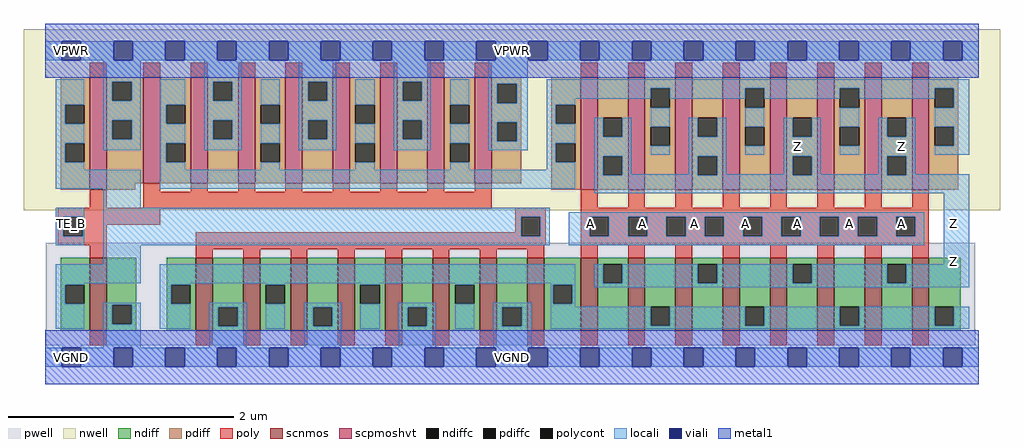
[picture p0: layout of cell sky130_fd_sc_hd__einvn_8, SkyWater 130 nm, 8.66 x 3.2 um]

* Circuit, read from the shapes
.subckt sky130_fd_sc_hd__einvn_8 A TE_B VGND VNB VPB VPWR Z
XM1 VGND TE_B n1 VNB sky130_fd_pr__nfet_01v8 w=0.65 l=0.15
XM2 VGND n1 n2 VNB sky130_fd_pr__nfet_01v8 w=0.65 l=0.15 m=8
XM3 Z A n2 VNB sky130_fd_pr__nfet_01v8 w=0.65 l=0.15 m=8
XM4 VPWR TE_B n1 VPB sky130_fd_pr__pfet_01v8_hvt w=1 l=0.15
XM5 n3 TE_B VPWR VPB sky130_fd_pr__pfet_01v8_hvt w=0.94 l=0.15 m=8
XM6 Z A n3 VPB sky130_fd_pr__pfet_01v8_hvt w=1 l=0.15 m=8
.ends

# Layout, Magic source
magic
tech sky130A
magscale 1 2
<< nwell >>
rect -38 261 1694 582
<< pwell >>
rect 1 21 1650 203
rect 30 -17 64 21
<< scnmos >>
rect 79 47 109 177
rect 267 47 297 177
rect 351 47 381 177
rect 435 47 465 177
rect 519 47 549 177
rect 603 47 633 177
rect 687 47 717 177
rect 771 47 801 177
rect 855 47 885 177
rect 950 47 980 177
rect 1034 47 1064 177
rect 1118 47 1148 177
rect 1202 47 1232 177
rect 1286 47 1316 177
rect 1370 47 1400 177
rect 1454 47 1484 177
rect 1538 47 1568 177
<< scpmoshvt >>
rect 79 297 109 497
rect 174 309 204 497
rect 258 309 288 497
rect 342 309 372 497
rect 426 309 456 497
rect 510 309 540 497
rect 594 309 624 497
rect 678 309 708 497
rect 762 309 792 497
rect 950 297 980 497
rect 1034 297 1064 497
rect 1118 297 1148 497
rect 1202 297 1232 497
rect 1286 297 1316 497
rect 1370 297 1400 497
rect 1454 297 1484 497
rect 1538 297 1568 497
<< ndiff >>
rect 27 129 79 177
rect 27 95 35 129
rect 69 95 79 129
rect 27 47 79 95
rect 109 93 161 177
rect 109 59 119 93
rect 153 59 161 93
rect 109 47 161 59
rect 215 129 267 177
rect 215 95 223 129
rect 257 95 267 129
rect 215 47 267 95
rect 297 89 351 177
rect 297 55 307 89
rect 341 55 351 89
rect 297 47 351 55
rect 381 129 435 177
rect 381 95 391 129
rect 425 95 435 129
rect 381 47 435 95
rect 465 89 519 177
rect 465 55 475 89
rect 509 55 519 89
rect 465 47 519 55
rect 549 129 603 177
rect 549 95 559 129
rect 593 95 603 129
rect 549 47 603 95
rect 633 89 687 177
rect 633 55 643 89
rect 677 55 687 89
rect 633 47 687 55
rect 717 129 771 177
rect 717 95 727 129
rect 761 95 771 129
rect 717 47 771 95
rect 801 89 855 177
rect 801 55 811 89
rect 845 55 855 89
rect 801 47 855 55
rect 885 129 950 177
rect 885 95 901 129
rect 935 95 950 129
rect 885 47 950 95
rect 980 165 1034 177
rect 980 131 990 165
rect 1024 131 1034 165
rect 980 47 1034 131
rect 1064 90 1118 177
rect 1064 56 1074 90
rect 1108 56 1118 90
rect 1064 47 1118 56
rect 1148 165 1202 177
rect 1148 131 1158 165
rect 1192 131 1202 165
rect 1148 47 1202 131
rect 1232 90 1286 177
rect 1232 56 1242 90
rect 1276 56 1286 90
rect 1232 47 1286 56
rect 1316 165 1370 177
rect 1316 131 1326 165
rect 1360 131 1370 165
rect 1316 47 1370 131
rect 1400 90 1454 177
rect 1400 56 1410 90
rect 1444 56 1454 90
rect 1400 47 1454 56
rect 1484 165 1538 177
rect 1484 131 1494 165
rect 1528 131 1538 165
rect 1484 47 1538 131
rect 1568 90 1624 177
rect 1568 56 1578 90
rect 1612 56 1624 90
rect 1568 47 1624 56
<< pdiff >>
rect 27 448 79 497
rect 27 414 35 448
rect 69 414 79 448
rect 27 380 79 414
rect 27 346 35 380
rect 69 346 79 380
rect 27 297 79 346
rect 109 489 174 497
rect 109 455 119 489
rect 153 455 174 489
rect 109 421 174 455
rect 109 387 119 421
rect 153 387 174 421
rect 109 309 174 387
rect 204 448 258 497
rect 204 414 214 448
rect 248 414 258 448
rect 204 380 258 414
rect 204 346 214 380
rect 248 346 258 380
rect 204 309 258 346
rect 288 489 342 497
rect 288 455 298 489
rect 332 455 342 489
rect 288 421 342 455
rect 288 387 298 421
rect 332 387 342 421
rect 288 309 342 387
rect 372 448 426 497
rect 372 414 382 448
rect 416 414 426 448
rect 372 380 426 414
rect 372 346 382 380
rect 416 346 426 380
rect 372 309 426 346
rect 456 489 510 497
rect 456 455 466 489
rect 500 455 510 489
rect 456 421 510 455
rect 456 387 466 421
rect 500 387 510 421
rect 456 309 510 387
rect 540 448 594 497
rect 540 414 550 448
rect 584 414 594 448
rect 540 380 594 414
rect 540 346 550 380
rect 584 346 594 380
rect 540 309 594 346
rect 624 489 678 497
rect 624 455 634 489
rect 668 455 678 489
rect 624 421 678 455
rect 624 387 634 421
rect 668 387 678 421
rect 624 309 678 387
rect 708 448 762 497
rect 708 414 718 448
rect 752 414 762 448
rect 708 380 762 414
rect 708 346 718 380
rect 752 346 762 380
rect 708 309 762 346
rect 792 485 844 497
rect 792 451 802 485
rect 836 451 844 485
rect 792 417 844 451
rect 792 383 802 417
rect 836 383 844 417
rect 792 309 844 383
rect 898 448 950 497
rect 898 414 906 448
rect 940 414 950 448
rect 898 380 950 414
rect 898 346 906 380
rect 940 346 950 380
rect 109 297 159 309
rect 898 297 950 346
rect 980 425 1034 497
rect 980 391 990 425
rect 1024 391 1034 425
rect 980 357 1034 391
rect 980 323 990 357
rect 1024 323 1034 357
rect 980 297 1034 323
rect 1064 477 1118 497
rect 1064 443 1074 477
rect 1108 443 1118 477
rect 1064 409 1118 443
rect 1064 375 1074 409
rect 1108 375 1118 409
rect 1064 297 1118 375
rect 1148 425 1202 497
rect 1148 391 1158 425
rect 1192 391 1202 425
rect 1148 357 1202 391
rect 1148 323 1158 357
rect 1192 323 1202 357
rect 1148 297 1202 323
rect 1232 477 1286 497
rect 1232 443 1242 477
rect 1276 443 1286 477
rect 1232 409 1286 443
rect 1232 375 1242 409
rect 1276 375 1286 409
rect 1232 297 1286 375
rect 1316 425 1370 497
rect 1316 391 1326 425
rect 1360 391 1370 425
rect 1316 357 1370 391
rect 1316 323 1326 357
rect 1360 323 1370 357
rect 1316 297 1370 323
rect 1400 477 1454 497
rect 1400 443 1410 477
rect 1444 443 1454 477
rect 1400 409 1454 443
rect 1400 375 1410 409
rect 1444 375 1454 409
rect 1400 297 1454 375
rect 1484 425 1538 497
rect 1484 391 1494 425
rect 1528 391 1538 425
rect 1484 357 1538 391
rect 1484 323 1494 357
rect 1528 323 1538 357
rect 1484 297 1538 323
rect 1568 477 1620 497
rect 1568 443 1578 477
rect 1612 443 1620 477
rect 1568 409 1620 443
rect 1568 375 1578 409
rect 1612 375 1620 409
rect 1568 297 1620 375
<< ndiffc >>
rect 35 95 69 129
rect 119 59 153 93
rect 223 95 257 129
rect 307 55 341 89
rect 391 95 425 129
rect 475 55 509 89
rect 559 95 593 129
rect 643 55 677 89
rect 727 95 761 129
rect 811 55 845 89
rect 901 95 935 129
rect 990 131 1024 165
rect 1074 56 1108 90
rect 1158 131 1192 165
rect 1242 56 1276 90
rect 1326 131 1360 165
rect 1410 56 1444 90
rect 1494 131 1528 165
rect 1578 56 1612 90
<< pdiffc >>
rect 35 414 69 448
rect 35 346 69 380
rect 119 455 153 489
rect 119 387 153 421
rect 214 414 248 448
rect 214 346 248 380
rect 298 455 332 489
rect 298 387 332 421
rect 382 414 416 448
rect 382 346 416 380
rect 466 455 500 489
rect 466 387 500 421
rect 550 414 584 448
rect 550 346 584 380
rect 634 455 668 489
rect 634 387 668 421
rect 718 414 752 448
rect 718 346 752 380
rect 802 451 836 485
rect 802 383 836 417
rect 906 414 940 448
rect 906 346 940 380
rect 990 391 1024 425
rect 990 323 1024 357
rect 1074 443 1108 477
rect 1074 375 1108 409
rect 1158 391 1192 425
rect 1158 323 1192 357
rect 1242 443 1276 477
rect 1242 375 1276 409
rect 1326 391 1360 425
rect 1326 323 1360 357
rect 1410 443 1444 477
rect 1410 375 1444 409
rect 1494 391 1528 425
rect 1494 323 1528 357
rect 1578 443 1612 477
rect 1578 375 1612 409
<< poly >>
rect 79 497 109 523
rect 174 497 204 523
rect 258 497 288 523
rect 342 497 372 523
rect 426 497 456 523
rect 510 497 540 523
rect 594 497 624 523
rect 678 497 708 523
rect 762 497 792 523
rect 950 497 980 523
rect 1034 497 1064 523
rect 1118 497 1148 523
rect 1202 497 1232 523
rect 1286 497 1316 523
rect 1370 497 1400 523
rect 1454 497 1484 523
rect 1538 497 1568 523
rect 79 265 109 297
rect 174 294 204 309
rect 258 294 288 309
rect 342 294 372 309
rect 426 294 456 309
rect 510 294 540 309
rect 594 294 624 309
rect 678 294 708 309
rect 762 294 792 309
rect 174 265 792 294
rect 950 265 980 297
rect 1034 265 1064 297
rect 1118 265 1148 297
rect 1202 265 1232 297
rect 1286 265 1316 297
rect 1370 265 1400 297
rect 1454 265 1484 297
rect 1538 265 1568 297
rect 22 264 792 265
rect 22 249 204 264
rect 22 215 32 249
rect 66 235 204 249
rect 834 249 888 265
rect 66 215 109 235
rect 834 222 844 249
rect 22 199 109 215
rect 79 177 109 199
rect 267 215 844 222
rect 878 215 888 249
rect 267 199 888 215
rect 950 249 1568 265
rect 950 215 966 249
rect 1000 215 1034 249
rect 1068 215 1102 249
rect 1136 215 1170 249
rect 1204 215 1238 249
rect 1272 215 1306 249
rect 1340 215 1374 249
rect 1408 215 1442 249
rect 1476 215 1510 249
rect 1544 215 1568 249
rect 950 199 1568 215
rect 267 192 885 199
rect 267 177 297 192
rect 351 177 381 192
rect 435 177 465 192
rect 519 177 549 192
rect 603 177 633 192
rect 687 177 717 192
rect 771 177 801 192
rect 855 177 885 192
rect 950 177 980 199
rect 1034 177 1064 199
rect 1118 177 1148 199
rect 1202 177 1232 199
rect 1286 177 1316 199
rect 1370 177 1400 199
rect 1454 177 1484 199
rect 1538 177 1568 199
rect 79 21 109 47
rect 267 21 297 47
rect 351 21 381 47
rect 435 21 465 47
rect 519 21 549 47
rect 603 21 633 47
rect 687 21 717 47
rect 771 21 801 47
rect 855 21 885 47
rect 950 21 980 47
rect 1034 21 1064 47
rect 1118 21 1148 47
rect 1202 21 1232 47
rect 1286 21 1316 47
rect 1370 21 1400 47
rect 1454 21 1484 47
rect 1538 21 1568 47
<< polycont >>
rect 32 215 66 249
rect 844 215 878 249
rect 966 215 1000 249
rect 1034 215 1068 249
rect 1102 215 1136 249
rect 1170 215 1204 249
rect 1238 215 1272 249
rect 1306 215 1340 249
rect 1374 215 1408 249
rect 1442 215 1476 249
rect 1510 215 1544 249
<< locali >>
rect 0 527 29 561
rect 63 527 121 561
rect 155 527 213 561
rect 247 527 305 561
rect 339 527 397 561
rect 431 527 489 561
rect 523 527 581 561
rect 615 527 673 561
rect 707 527 765 561
rect 799 527 857 561
rect 891 527 949 561
rect 983 527 1041 561
rect 1075 527 1133 561
rect 1167 527 1225 561
rect 1259 527 1317 561
rect 1351 527 1409 561
rect 1443 527 1501 561
rect 1535 527 1593 561
rect 1627 527 1656 561
rect 18 448 69 493
rect 18 414 35 448
rect 18 380 69 414
rect 18 346 35 380
rect 103 489 169 527
rect 103 455 119 489
rect 153 455 169 489
rect 103 421 169 455
rect 103 387 119 421
rect 153 387 169 421
rect 103 367 169 387
rect 203 448 248 493
rect 203 414 214 448
rect 203 380 248 414
rect 18 333 69 346
rect 203 346 214 380
rect 282 489 348 527
rect 282 455 298 489
rect 332 455 348 489
rect 282 421 348 455
rect 282 387 298 421
rect 332 387 348 421
rect 282 367 348 387
rect 382 448 416 493
rect 382 380 416 414
rect 203 333 248 346
rect 450 489 516 527
rect 450 455 466 489
rect 500 455 516 489
rect 450 421 516 455
rect 450 387 466 421
rect 500 387 516 421
rect 450 367 516 387
rect 550 448 584 493
rect 550 380 584 414
rect 382 333 416 346
rect 618 489 684 527
rect 618 455 634 489
rect 668 455 684 489
rect 618 421 684 455
rect 618 387 634 421
rect 668 387 684 421
rect 618 367 684 387
rect 718 448 752 493
rect 718 380 752 414
rect 550 333 584 346
rect 786 485 856 527
rect 786 451 802 485
rect 836 451 856 485
rect 786 417 856 451
rect 786 383 802 417
rect 836 383 856 417
rect 786 367 856 383
rect 890 477 1639 493
rect 890 459 1074 477
rect 890 448 940 459
rect 890 414 906 448
rect 1108 459 1242 477
rect 890 380 940 414
rect 718 333 752 346
rect 890 346 906 380
rect 890 333 940 346
rect 18 299 169 333
rect 203 299 940 333
rect 974 391 990 425
rect 1024 391 1040 425
rect 974 357 1040 391
rect 1074 409 1108 443
rect 1276 459 1410 477
rect 1074 359 1108 375
rect 1142 391 1158 425
rect 1192 391 1208 425
rect 974 323 990 357
rect 1024 325 1040 357
rect 1142 357 1208 391
rect 1242 409 1276 443
rect 1444 459 1578 477
rect 1242 359 1276 375
rect 1310 391 1326 425
rect 1360 391 1376 425
rect 1142 325 1158 357
rect 1024 323 1158 325
rect 1192 325 1208 357
rect 1310 357 1376 391
rect 1410 409 1444 443
rect 1612 443 1639 477
rect 1410 359 1444 375
rect 1478 391 1494 425
rect 1528 391 1544 425
rect 1310 325 1326 357
rect 1192 323 1326 325
rect 1360 325 1376 357
rect 1478 357 1544 391
rect 1578 409 1639 443
rect 1612 375 1639 409
rect 1578 359 1639 375
rect 1478 325 1494 357
rect 1360 323 1494 325
rect 1528 325 1544 357
rect 1528 323 1639 325
rect 103 265 169 299
rect 974 291 1639 323
rect 18 249 69 265
rect 18 215 32 249
rect 66 215 69 249
rect 18 199 69 215
rect 103 249 895 265
rect 103 215 844 249
rect 878 215 895 249
rect 103 199 895 215
rect 929 249 1560 257
rect 929 215 966 249
rect 1000 215 1034 249
rect 1068 215 1102 249
rect 1136 215 1170 249
rect 1204 215 1238 249
rect 1272 215 1306 249
rect 1340 215 1374 249
rect 1408 215 1442 249
rect 1476 215 1510 249
rect 1544 215 1560 249
rect 929 199 1560 215
rect 103 165 169 199
rect 1594 165 1639 291
rect 18 131 169 165
rect 203 131 940 165
rect 18 129 69 131
rect 18 95 35 129
rect 203 129 257 131
rect 18 51 69 95
rect 103 93 169 97
rect 103 59 119 93
rect 153 59 169 93
rect 103 17 169 59
rect 203 95 223 129
rect 391 129 425 131
rect 203 51 257 95
rect 291 89 357 97
rect 291 55 307 89
rect 341 55 357 89
rect 291 17 357 55
rect 559 129 593 131
rect 391 51 425 95
rect 459 89 525 97
rect 459 55 475 89
rect 509 55 525 89
rect 459 17 525 55
rect 727 129 761 131
rect 559 51 593 95
rect 627 89 693 97
rect 627 55 643 89
rect 677 55 693 89
rect 627 17 693 55
rect 897 129 940 131
rect 727 51 761 95
rect 795 89 863 97
rect 795 55 811 89
rect 845 55 863 89
rect 795 17 863 55
rect 897 95 901 129
rect 935 95 940 129
rect 974 131 990 165
rect 1024 131 1158 165
rect 1192 131 1326 165
rect 1360 131 1494 165
rect 1528 131 1639 165
rect 974 124 1639 131
rect 897 90 940 95
rect 897 56 1074 90
rect 1108 56 1242 90
rect 1276 56 1410 90
rect 1444 56 1578 90
rect 1612 56 1639 90
rect 897 51 1639 56
rect 0 -17 29 17
rect 63 -17 121 17
rect 155 -17 213 17
rect 247 -17 305 17
rect 339 -17 397 17
rect 431 -17 489 17
rect 523 -17 581 17
rect 615 -17 673 17
rect 707 -17 765 17
rect 799 -17 857 17
rect 891 -17 949 17
rect 983 -17 1041 17
rect 1075 -17 1133 17
rect 1167 -17 1225 17
rect 1259 -17 1317 17
rect 1351 -17 1409 17
rect 1443 -17 1501 17
rect 1535 -17 1593 17
rect 1627 -17 1656 17
<< viali >>
rect 29 527 63 561
rect 121 527 155 561
rect 213 527 247 561
rect 305 527 339 561
rect 397 527 431 561
rect 489 527 523 561
rect 581 527 615 561
rect 673 527 707 561
rect 765 527 799 561
rect 857 527 891 561
rect 949 527 983 561
rect 1041 527 1075 561
rect 1133 527 1167 561
rect 1225 527 1259 561
rect 1317 527 1351 561
rect 1409 527 1443 561
rect 1501 527 1535 561
rect 1593 527 1627 561
rect 29 -17 63 17
rect 121 -17 155 17
rect 213 -17 247 17
rect 305 -17 339 17
rect 397 -17 431 17
rect 489 -17 523 17
rect 581 -17 615 17
rect 673 -17 707 17
rect 765 -17 799 17
rect 857 -17 891 17
rect 949 -17 983 17
rect 1041 -17 1075 17
rect 1133 -17 1167 17
rect 1225 -17 1259 17
rect 1317 -17 1351 17
rect 1409 -17 1443 17
rect 1501 -17 1535 17
rect 1593 -17 1627 17
<< metal1 >>
rect 0 561 1656 592
rect 0 527 29 561
rect 63 527 121 561
rect 155 527 213 561
rect 247 527 305 561
rect 339 527 397 561
rect 431 527 489 561
rect 523 527 581 561
rect 615 527 673 561
rect 707 527 765 561
rect 799 527 857 561
rect 891 527 949 561
rect 983 527 1041 561
rect 1075 527 1133 561
rect 1167 527 1225 561
rect 1259 527 1317 561
rect 1351 527 1409 561
rect 1443 527 1501 561
rect 1535 527 1593 561
rect 1627 527 1656 561
rect 0 496 1656 527
rect 0 17 1656 48
rect 0 -17 29 17
rect 63 -17 121 17
rect 155 -17 213 17
rect 247 -17 305 17
rect 339 -17 397 17
rect 431 -17 489 17
rect 523 -17 581 17
rect 615 -17 673 17
rect 707 -17 765 17
rect 799 -17 857 17
rect 891 -17 949 17
rect 983 -17 1041 17
rect 1075 -17 1133 17
rect 1167 -17 1225 17
rect 1259 -17 1317 17
rect 1351 -17 1409 17
rect 1443 -17 1501 17
rect 1535 -17 1593 17
rect 1627 -17 1656 17
rect 0 -48 1656 -17
<< labels >>
flabel locali s 1318 221 1352 255 0 FreeSans 200 0 0 0 A
port 1 nsew signal input
flabel locali s 30 221 64 255 0 FreeSans 200 0 0 0 TE_B
port 2 nsew signal input
flabel locali s 1410 221 1444 255 0 FreeSans 200 0 0 0 A
port 1 nsew signal input
flabel locali s 1502 221 1536 255 0 FreeSans 200 0 0 0 A
port 1 nsew signal input
flabel locali s 1318 357 1352 391 0 FreeSans 200 0 0 0 Z
port 7 nsew signal output
flabel locali s 1502 357 1536 391 0 FreeSans 200 0 0 0 Z
port 7 nsew signal output
flabel locali s 1594 153 1628 187 0 FreeSans 200 0 0 0 Z
port 7 nsew signal output
flabel locali s 1594 221 1628 255 0 FreeSans 200 0 0 0 Z
port 7 nsew signal output
flabel locali s 950 221 984 255 0 FreeSans 200 0 0 0 A
port 1 nsew signal input
flabel locali s 1042 221 1076 255 0 FreeSans 200 0 0 0 A
port 1 nsew signal input
flabel locali s 1134 221 1168 255 0 FreeSans 200 0 0 0 A
port 1 nsew signal input
flabel locali s 1226 221 1260 255 0 FreeSans 200 0 0 0 A
port 1 nsew signal input
flabel metal1 s 30 -17 64 17 0 FreeSans 200 0 0 0 VGND
port 3 nsew ground bidirectional abutment
flabel metal1 s 30 527 64 561 0 FreeSans 200 0 0 0 VPWR
port 6 nsew power bidirectional abutment
flabel nwell s 30 527 64 561 0 FreeSans 200 0 0 0 VPB
port 5 nsew power bidirectional
flabel pwell s 30 -17 64 17 0 FreeSans 200 0 0 0 VNB
port 4 nsew ground bidirectional
rlabel comment s 0 0 0 0 4 einvn_8
rlabel metal1 s 0 -48 1656 48 1 VGND
port 3 nsew ground bidirectional abutment
rlabel metal1 s 0 496 1656 592 1 VPWR
port 6 nsew power bidirectional abutment
<< properties >>
string FIXED_BBOX 0 0 1656 544
string GDS_END 3027444
string GDS_FILE $PDKPATH/libs.ref/sky130_fd_sc_hd/gds/sky130_fd_sc_hd.gds
string GDS_START 3015180
string LEFclass CORE
string LEFsite unithd
string LEFsymmetry X Y R90
string path 0.000 0.000 41.400 0.000 
<< end >>
